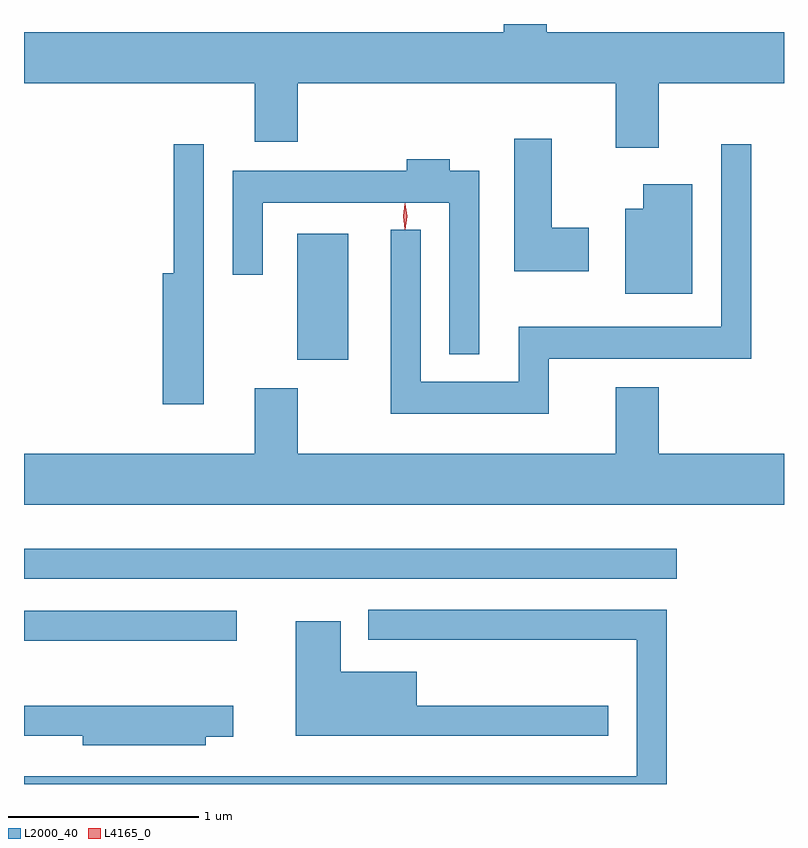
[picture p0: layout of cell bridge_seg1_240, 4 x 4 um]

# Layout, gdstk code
import gdstk
lib = gdstk.Library(unit=1e-6, precision=1e-09)
def R(c, l, rs):  # rectangles x0, y0, x1, y1
    for r in rs: c.add(gdstk.rectangle(r[:2], r[2:], *l))
def P(c, l, *ps):  # polygons
    for p in ps: c.add(gdstk.Polygon(p, *l))
L2000_40 = (2000, 40)
L4165_0 = (4165, 0)

bridge_seg1_240 = lib.new_cell('bridge_seg1_240')
R(bridge_seg1_240, L2000_40, [(836.167,878.881,837.288,879.039), (836.167,879.206,839.603,879.364), (837.606,880.361,837.874,881.024)])
P(bridge_seg1_240, L2000_40, [(839.509,881.816),(840.167,881.816),(840.167,882.084),(838.919,882.084),(838.919,882.127),(838.691,882.127),(838.691,882.084),(836.167,882.084),(836.167,881.816),(837.381,881.816),(837.381,881.506),(837.609,881.506),(837.609,881.816),(839.281,881.816),(839.281,881.476),(839.509,881.476)],
  [(839.139,881.054),(838.944,881.054),(838.944,881.524),(838.746,881.524),(838.746,880.826),(839.139,880.826)],
  [(837.114,881.493),(836.956,881.493),(836.956,880.814),(836.896,880.814),(836.896,880.126),(837.114,880.126)],
  [(838.929,880.366),(839.994,880.366),(839.994,881.493),(839.836,881.493),(839.836,880.534),(838.771,880.534),(838.771,880.244),(838.254,880.244),(838.254,881.043),(838.096,881.043),(838.096,880.076),(838.929,880.076)],
  [(838.564,881.354),(838.409,881.354),(838.409,881.414),(838.181,881.414),(838.181,881.354),(837.266,881.354),(837.266,880.808),(837.424,880.808),(837.424,881.186),(838.406,881.186),(838.406,880.388),(838.564,880.388)],
  [(839.684,881.284),(839.426,881.284),(839.426,881.154),(839.331,881.154),(839.331,880.706),(839.684,880.706)],
  [(837.381,880.209),(837.381,879.864),(836.167,879.864),(836.167,879.596),(840.167,879.596),(840.167,879.864),(839.509,879.864),(839.509,880.214),(839.281,880.214),(839.281,879.864),(837.609,879.864),(837.609,880.209)],
  [(839.549,879.044),(837.978,879.044),(837.978,878.886),(839.391,878.886),(839.391,878.169),(836.167,878.169),(836.167,878.127),(839.549,878.127)],
  [(839.243,878.539),(838.234,878.539),(838.234,878.719),(837.834,878.719),(837.834,878.984),(837.596,878.984),(837.596,878.381),(839.243,878.381)],
  [(837.124,878.376),(837.268,878.376),(837.268,878.539),(836.167,878.539),(836.167,878.381),(836.476,878.381),(836.476,878.331),(837.124,878.331)])
P(bridge_seg1_240, L4165_0, [(838.173,881.044),(838.164,881.114),(838.173,881.182),(838.174,881.183),(838.174,881.182),(838.184,881.114),(838.174,881.044),(838.174,881.044)],
  [(838.172,881.047),(838.172,881.047),(838.162,881.114),(838.172,881.18),(838.172,881.18),(838.172,881.18),(838.182,881.114),(838.172,881.047)])

lib.write_gds('bridge_seg1_240.gds')
